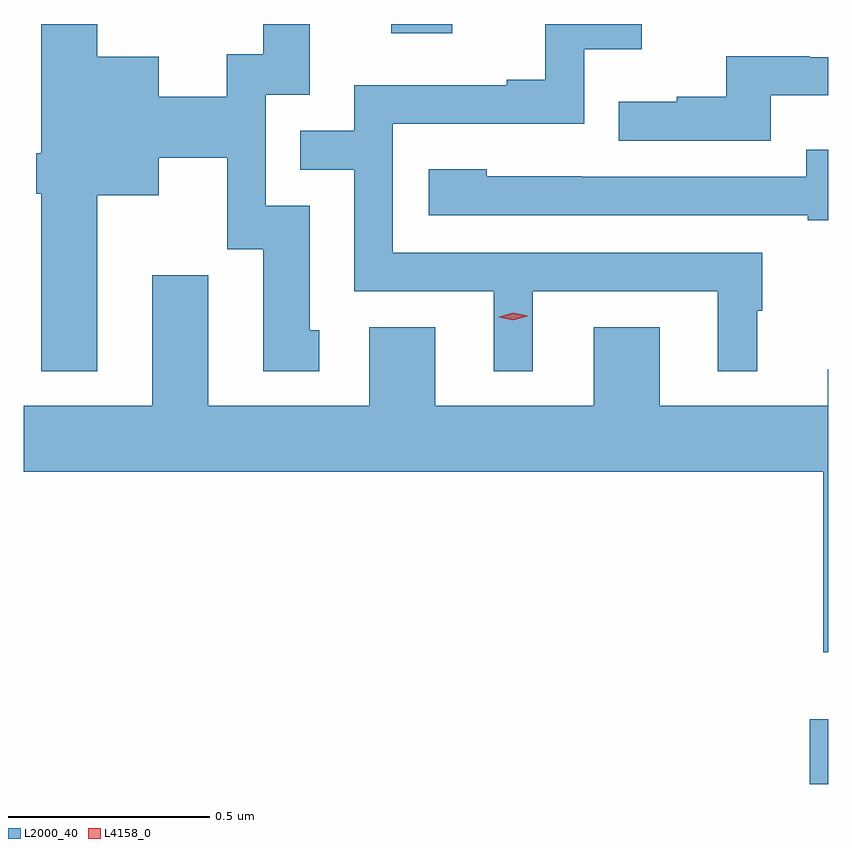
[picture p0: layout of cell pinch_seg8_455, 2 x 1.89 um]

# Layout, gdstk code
import gdstk
lib = gdstk.Library(unit=1e-6, precision=1e-09)
def R(c, l, rs):  # rectangles x0, y0, x1, y1
    for r in rs: c.add(gdstk.rectangle(r[:2], r[2:], *l))
def P(c, l, *ps):  # polygons
    for p in ps: c.add(gdstk.Polygon(p, *l))
L2000_40 = (2000, 40)
L4158_0 = (4158, 0)

pinch_seg8_455 = lib.new_cell('pinch_seg8_455')
R(pinch_seg8_455, L2000_40, [(316.526,1134.371,316.572,1134.532), (315.485,1136.238,315.637,1136.261)])
P(pinch_seg8_455, L2000_40, [(314.755,1135.835),(314.908,1135.835),(314.908,1135.928),(315.078,1135.928),(315.078,1135.701),(315.167,1135.701),(315.167,1135.398),(315.307,1135.398),(315.307,1135.5),(315.283,1135.5),(315.283,1135.809),(315.174,1135.809),(315.174,1136.085),(315.283,1136.085),(315.283,1136.261),(315.167,1136.261),(315.167,1136.186),(315.077,1136.186),(315.077,1136.08),(314.908,1136.08),(314.908,1136.179),(314.755,1136.179),(314.755,1136.261),(314.615,1136.261),(314.615,1135.939),(314.603,1135.939),(314.603,1135.839),(314.615,1135.839),(314.615,1135.397),(314.755,1135.397)],
  [(315.838,1135.596),(316.298,1135.596),(316.298,1135.397),(316.396,1135.397),(316.396,1135.548),(316.408,1135.548),(316.408,1135.692),(315.489,1135.692),(315.489,1136.013),(315.966,1136.013),(315.966,1136.198),(316.108,1136.198),(316.108,1136.261),(315.868,1136.261),(315.868,1136.122),(315.773,1136.122),(315.773,1136.109),(315.393,1136.109),(315.393,1135.995),(315.259,1135.995),(315.259,1135.899),(315.393,1135.899),(315.393,1135.596),(315.74,1135.596),(315.74,1135.397),(315.838,1135.397)],
  [(316.429,1136.084),(316.572,1136.084),(316.572,1136.178),(316.526,1136.178),(316.526,1136.181),(316.319,1136.181),(316.319,1136.08),(316.195,1136.08),(316.195,1136.068),(316.051,1136.068),(316.051,1135.971),(316.429,1135.971)],
  [(316.572,1135.948),(316.517,1135.948),(316.517,1135.881),(315.959,1135.881),(315.959,1135.882),(315.723,1135.882),(315.723,1135.9),(315.579,1135.9),(315.579,1135.785),(316.521,1135.785),(316.521,1135.773),(316.572,1135.773)],
  [(316.572,1135.403),(316.571,1135.403),(316.571,1135.312),(316.153,1135.312),(316.153,1135.507),(315.989,1135.507),(315.989,1135.312),(315.595,1135.312),(315.595,1135.507),(315.431,1135.507),(315.431,1135.312),(315.031,1135.312),(315.031,1135.636),(314.891,1135.636),(314.891,1135.312),(314.572,1135.312),(314.572,1135.148),(316.56,1135.148),(316.56,1134.699),(316.572,1134.699)])
P(pinch_seg8_455, L4158_0, [(315.789,1135.524),(315.754,1135.532),(315.753,1135.532),(315.754,1135.533),(315.789,1135.543),(315.824,1135.535),(315.825,1135.535),(315.824,1135.534)])

lib.write_gds('pinch_seg8_455.gds')
